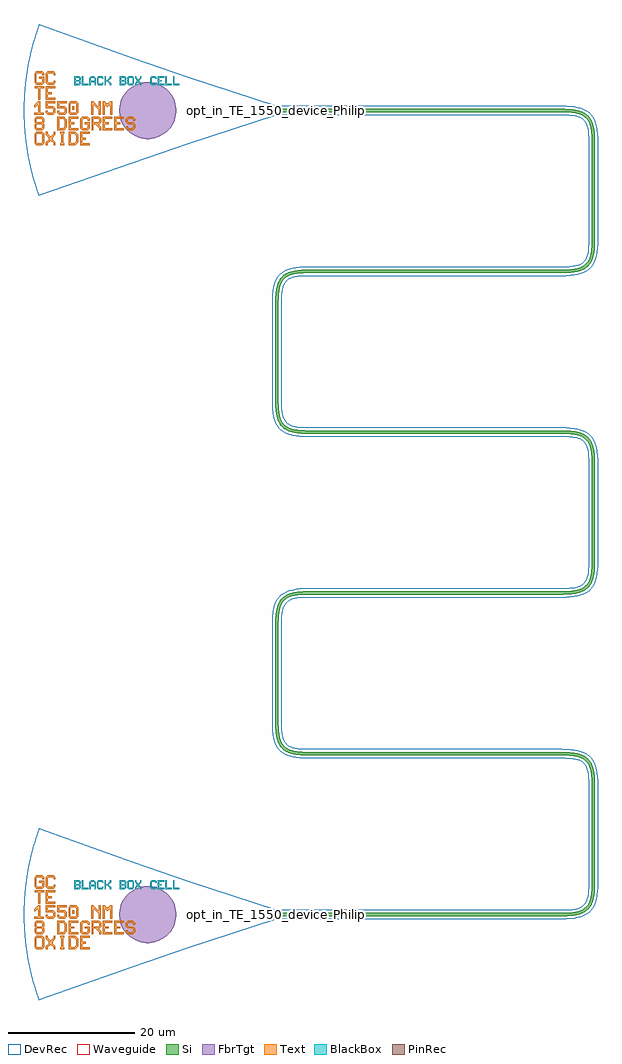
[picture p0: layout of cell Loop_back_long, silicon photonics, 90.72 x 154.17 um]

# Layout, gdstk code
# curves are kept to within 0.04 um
import gdstk
lib = gdstk.Library(unit=1e-6, precision=1e-09)
def R(c, l, rs):  # rectangles x0, y0, x1, y1
    for r in rs: c.add(gdstk.rectangle(r[:2], r[2:], *l))
def P(c, l, *ps):  # polygons
    for p in ps: c.add(gdstk.Polygon(p, *l))
Si = (1, 0)
PinRec = (1, 10)
Waveguide = (1, 99)
Text = (10, 0)
DevRec = (68, 0)
FbrTgt = (81, 0)
BlackBox = (998, 0)

text = lib.new_cell('TEXT')
P(text, BlackBox, [(0,0),(0,1.4),(0.8,1.4),(1,1.2),(0.2,1.2),(0.2,0.8),(0.7,0.8),(0.8,0.9),(0.8,1.1),(0.7,1.2),(1,1.2),(1,0.8),(0.9,0.7),(1,0.6),(0.2,0.6),(0.2,0.2),(0.7,0.2),(0.8,0.3),(0.8,0.5),(0.7,0.6),(1,0.6),(1,0.2),(0.8,0)],
  [(1.2,0),(1.2,1.4),(1.4,1.4),(1.4,0.2),(2.2,0.2),(2.2,0)],
  [(2.4,0),(2.4,1.1),(2.7,1.4),(3.1,1.4),(3.3,1.2),(2.8,1.2),(2.6,1),(2.6,0.7),(3.2,0.7),(3.2,1),(3,1.2),(3.3,1.2),(3.4,1.1),(3.4,0),(3.2,0),(3.2,0.5),(2.6,0.5),(2.6,0)],
  [(3.8,0),(3.6,0.2),(3.6,1.2),(3.8,1.4),(4.4,1.4),(4.6,1.2),(4.6,1),(4.4,1),(4.4,1.1),(4.3,1.2),(3.9,1.2),(3.8,1.1),(3.8,0.3),(3.9,0.2),(4.3,0.2),(4.4,0.3),(4.4,0.4),(4.6,0.4),(4.6,0.2),(4.4,0)],
  [(4.8,0),(4.8,1.4),(5,1.4),(5,0.8),(5.2,0.8),(5.6,1.2),(5.6,1.4),(5.8,1.4),(5.8,1.1),(5.4,0.7),(5.8,0.3),(5.8,0),(5.6,0),(5.6,0.2),(5.2,0.6),(5,0.6),(5,0)],
  [(7.2,0),(7.2,1.4),(8,1.4),(8.2,1.2),(7.4,1.2),(7.4,0.8),(7.9,0.8),(8,0.9),(8,1.1),(7.9,1.2),(8.2,1.2),(8.2,0.8),(8.1,0.7),(8.2,0.6),(7.4,0.6),(7.4,0.2),(7.9,0.2),(8,0.3),(8,0.5),(7.9,0.6),(8.2,0.6),(8.2,0.2),(8,0)],
  [(8.6,0),(8.4,0.2),(8.4,1.2),(8.6,1.4),(9.2,1.4),(9.4,1.2),(9.4,0.7),(9.2,0.7),(9.2,1.1),(9.1,1.2),(8.7,1.2),(8.6,1.1),(8.6,0.3),(8.7,0.2),(9.1,0.2),(9.2,0.3),(9.2,0.7),(9.4,0.7),(9.4,0.2),(9.2,0)],
  [(9.6,0),(9.6,0.3),(9.9,0.6),(9.9,0.8),(9.6,1.1),(9.6,1.4),(9.8,1.4),(9.8,1.2),(10.1,0.9),(10.4,1.2),(10.4,1.4),(10.6,1.4),(10.6,1.1),(10.3,0.8),(10.3,0.6),(10.6,0.3),(10.6,0),(10.4,0),(10.4,0.2),(10.1,0.5),(9.8,0.2),(9.8,0)],
  [(12.2,0),(12,0.2),(12,1.2),(12.2,1.4),(12.8,1.4),(13,1.2),(13,1),(12.8,1),(12.8,1.1),(12.7,1.2),(12.3,1.2),(12.2,1.1),(12.2,0.3),(12.3,0.2),(12.7,0.2),(12.8,0.3),(12.8,0.4),(13,0.4),(13,0.2),(12.8,0)],
  [(13.2,0),(13.2,1.4),(14.2,1.4),(14.2,1.2),(13.4,1.2),(13.4,0.8),(13.8,0.8),(13.8,0.6),(13.4,0.6),(13.4,0.2),(14.2,0.2),(14.2,0)],
  [(14.4,0),(14.4,1.4),(14.6,1.4),(14.6,0.2),(15.4,0.2),(15.4,0)],
  [(15.6,0),(15.6,1.4),(15.8,1.4),(15.8,0.2),(16.6,0.2),(16.6,0)])

gc_te_1550_8degoxide_bb = lib.new_cell('GC_TE_1550_8degOxide_BB')
R(gc_te_1550_8degoxide_bb, Waveguide, [(-0.4,-0.25,0,0.25)])
R(gc_te_1550_8degoxide_bb, Text, [(-32.313,0.092,-32.013,0.692)])
P(gc_te_1550_8degoxide_bb, Text, [(-37.67,1.71),(-37.67,3.51),(-38.27,3.51),(-38.27,3.81),(-36.77,3.81),(-36.77,3.51),(-37.37,3.51),(-37.37,1.71)],
  [(-37.97,-5.49),(-38.27,-5.19),(-38.27,-3.69),(-37.97,-3.39),(-37.07,-3.39),(-36.77,-3.69),(-36.77,-4.44),(-37.07,-4.44),(-37.07,-3.84),(-37.22,-3.69),(-37.82,-3.69),(-37.97,-3.84),(-37.97,-5.04),(-37.82,-5.19),(-37.22,-5.19),(-37.07,-5.04),(-37.07,-4.44),(-36.77,-4.44),(-36.77,-5.19),(-37.07,-5.49)],
  [(-31.07,-5.49),(-31.07,-3.39),(-29.57,-3.39),(-29.57,-3.69),(-30.77,-3.69),(-30.77,-4.29),(-30.17,-4.29),(-30.17,-4.59),(-30.77,-4.59),(-30.77,-5.19),(-29.57,-5.19),(-29.57,-5.49)],
  [(-32.87,-3.09),(-32.87,-0.99),(-31.37,-0.99),(-31.37,-1.29),(-32.57,-1.29),(-32.57,-1.89),(-31.97,-1.89),(-31.97,-2.19),(-32.57,-2.19),(-32.57,-2.79),(-31.37,-2.79),(-31.37,-3.09)],
  [(-27.47,-3.09),(-27.47,-0.99),(-25.97,-0.99),(-25.97,-1.29),(-27.17,-1.29),(-27.17,-1.89),(-26.57,-1.89),(-26.57,-2.19),(-27.17,-2.19),(-27.17,-2.79),(-25.97,-2.79),(-25.97,-3.09)],
  [(-25.67,-3.09),(-25.67,-0.99),(-24.17,-0.99),(-24.17,-1.29),(-25.37,-1.29),(-25.37,-1.89),(-24.77,-1.89),(-24.77,-2.19),(-25.37,-2.19),(-25.37,-2.79),(-24.17,-2.79),(-24.17,-3.09)],
  [(-36.47,1.71),(-36.47,3.81),(-34.97,3.81),(-34.97,3.51),(-36.17,3.51),(-36.17,2.91),(-35.57,2.91),(-35.57,2.61),(-36.17,2.61),(-36.17,2.01),(-34.97,2.01),(-34.97,1.71)],
  [(-29.313,-0.658),(-29.313,1.442),(-29.013,1.442),(-28.263,0.692),(-28.113,0.692),(-28.113,1.442),(-27.813,1.442),(-27.813,-0.658),(-28.113,-0.658),(-28.113,0.092),(-28.863,0.842),(-29.013,0.842),(-29.013,-0.658)],
  [(-34.22,-5.49),(-34.22,-5.19),(-34.07,-5.19),(-34.07,-3.69),(-34.22,-3.69),(-34.22,-3.39),(-33.62,-3.39),(-33.62,-3.69),(-33.77,-3.69),(-33.77,-5.19),(-33.62,-5.19),(-33.62,-5.49)],
  [(-36.17,4.11),(-36.47,4.41),(-36.47,5.91),(-36.17,6.21),(-35.27,6.21),(-34.97,5.91),(-34.97,5.61),(-35.27,5.61),(-35.27,5.76),(-35.42,5.91),(-36.02,5.91),(-36.17,5.76),(-36.17,4.56),(-36.02,4.41),(-35.42,4.41),(-35.27,4.56),(-35.27,4.71),(-34.97,4.71),(-34.97,4.41),(-35.27,4.11)],
  [(-27.513,-0.658),(-27.513,1.442),(-27.213,1.442),(-26.913,1.142),(-26.613,1.142),(-26.313,1.442),(-26.013,1.442),(-26.013,-0.658),(-26.313,-0.658),(-26.313,0.842),(-26.463,0.842),(-26.763,0.542),(-27.063,0.842),(-27.213,0.842),(-27.213,-0.658)],
  [(-32.613,-0.658),(-32.913,-0.358),(-32.913,1.142),(-32.613,1.442),(-31.713,1.442),(-31.413,1.142),(-32.463,1.142),(-32.613,0.992),(-32.613,-0.208),(-32.463,-0.358),(-31.863,-0.358),(-31.713,-0.208),(-31.713,0.992),(-31.863,1.142),(-31.413,1.142),(-31.413,-0.358),(-31.713,-0.658)],
  [(-32.87,-5.49),(-32.87,-3.39),(-31.82,-3.39),(-31.52,-3.69),(-32.57,-3.69),(-32.57,-5.19),(-31.97,-5.19),(-31.67,-4.89),(-31.67,-3.99),(-31.97,-3.69),(-31.52,-3.69),(-31.37,-3.84),(-31.37,-5.04),(-31.82,-5.49)],
  [(-34.67,-3.09),(-34.67,-0.99),(-33.62,-0.99),(-33.32,-1.29),(-34.37,-1.29),(-34.37,-2.79),(-33.77,-2.79),(-33.47,-2.49),(-33.47,-1.59),(-33.77,-1.29),(-33.32,-1.29),(-33.17,-1.44),(-33.17,-2.64),(-33.62,-3.09)],
  [(-23.57,-3.09),(-23.87,-2.79),(-23.87,-2.49),(-23.57,-2.49),(-23.57,-2.64),(-23.42,-2.79),(-22.82,-2.79),(-22.67,-2.64),(-22.67,-2.34),(-22.82,-2.19),(-23.57,-2.19),(-23.87,-1.89),(-23.87,-1.29),(-23.57,-0.99),(-22.67,-0.99),(-22.37,-1.29),(-22.37,-1.59),(-22.67,-1.59),(-22.67,-1.44),(-22.82,-1.29),(-23.42,-1.29),(-23.57,-1.44),(-23.57,-1.74),(-23.42,-1.89),(-22.67,-1.89),(-22.37,-2.19),(-22.37,-2.79),(-22.67,-3.09)],
  [(-36.213,-0.658),(-36.513,-0.358),(-36.513,-0.058),(-36.213,-0.058),(-36.213,-0.208),(-36.063,-0.358),(-35.463,-0.358),(-35.313,-0.208),(-35.313,0.242),(-35.463,0.392),(-36.513,0.392),(-36.513,1.442),(-35.013,1.442),(-35.013,1.142),(-36.213,1.142),(-36.213,0.692),(-35.313,0.692),(-35.013,0.392),(-35.013,-0.358),(-35.313,-0.658)],
  [(-34.413,-0.658),(-34.713,-0.358),(-34.713,-0.058),(-34.413,-0.058),(-34.413,-0.208),(-34.263,-0.358),(-33.663,-0.358),(-33.513,-0.208),(-33.513,0.242),(-33.663,0.392),(-34.713,0.392),(-34.713,1.442),(-33.213,1.442),(-33.213,1.142),(-34.413,1.142),(-34.413,0.692),(-33.513,0.692),(-33.213,0.392),(-33.213,-0.358),(-33.513,-0.658)],
  [(-37.97,-3.09),(-38.27,-2.79),(-38.27,-2.19),(-38.12,-2.04),(-38.27,-1.89),(-38.27,-1.29),(-37.97,-0.99),(-37.07,-0.99),(-36.77,-1.29),(-37.82,-1.29),(-37.97,-1.44),(-37.97,-1.74),(-37.82,-1.89),(-37.22,-1.89),(-37.07,-1.74),(-37.07,-1.44),(-37.22,-1.29),(-36.77,-1.29),(-36.77,-1.89),(-36.92,-2.04),(-36.77,-2.19),(-37.82,-2.19),(-37.97,-2.34),(-37.97,-2.64),(-37.82,-2.79),(-37.22,-2.79),(-37.07,-2.64),(-37.07,-2.34),(-37.22,-2.19),(-36.77,-2.19),(-36.77,-2.79),(-37.07,-3.09)],
  [(-38.313,-0.658),(-38.313,-0.358),(-37.713,-0.358),(-37.713,0.842),(-37.863,0.842),(-38.163,0.542),(-38.313,0.542),(-38.313,0.842),(-37.713,1.442),(-37.413,1.442),(-37.413,-0.358),(-36.813,-0.358),(-36.813,-0.658)],
  [(-36.47,-5.49),(-36.47,-5.04),(-36.02,-4.59),(-36.02,-4.29),(-36.47,-3.84),(-36.47,-3.39),(-36.17,-3.39),(-36.17,-3.69),(-35.72,-4.14),(-35.27,-3.69),(-35.27,-3.39),(-34.97,-3.39),(-34.97,-3.84),(-35.42,-4.29),(-35.42,-4.59),(-34.97,-5.04),(-34.97,-5.49),(-35.27,-5.49),(-35.27,-5.19),(-35.72,-4.74),(-36.17,-5.19),(-36.17,-5.49)],
  [(-30.77,-3.09),(-31.07,-2.79),(-31.07,-1.29),(-30.77,-0.99),(-29.87,-0.99),(-29.57,-1.29),(-29.57,-1.59),(-29.87,-1.59),(-29.87,-1.44),(-30.02,-1.29),(-30.62,-1.29),(-30.77,-1.44),(-30.77,-2.64),(-30.62,-2.79),(-30.02,-2.79),(-29.87,-2.64),(-29.87,-2.19),(-30.32,-2.19),(-30.32,-1.89),(-29.57,-1.89),(-29.57,-2.79),(-29.87,-3.09)],
  [(-37.97,4.11),(-38.27,4.41),(-38.27,5.91),(-37.97,6.21),(-37.07,6.21),(-36.77,5.91),(-36.77,5.61),(-37.07,5.61),(-37.07,5.76),(-37.22,5.91),(-37.82,5.91),(-37.97,5.76),(-37.97,4.56),(-37.82,4.41),(-37.22,4.41),(-37.07,4.56),(-37.07,5.01),(-37.52,5.01),(-37.52,5.31),(-36.77,5.31),(-36.77,4.41),(-37.07,4.11)],
  [(-29.27,-3.09),(-29.27,-0.99),(-28.07,-0.99),(-27.77,-1.29),(-28.97,-1.29),(-28.97,-1.89),(-28.22,-1.89),(-28.07,-1.74),(-28.07,-1.44),(-28.22,-1.29),(-27.77,-1.29),(-27.77,-1.89),(-28.07,-2.19),(-28.07,-2.34),(-27.77,-2.64),(-27.77,-3.09),(-28.07,-3.09),(-28.07,-2.79),(-28.67,-2.19),(-28.97,-2.19),(-28.97,-3.09)])
P(gc_te_1550_8degoxide_bb, DevRec, [(-37.607,-13.5),(-38.627,-10.245),(-39.378,-6.832),(-39.647,-5.058),(-39.835,-3.274),(-39.969,0.224),(-39.812,3.541),(-39.331,7.097),(-38.557,10.505),(-37.546,13.669),(-22.8,8.353),(-14.109,5.36),(0,0.75),(0,-0.75),(-14.109,-5.36)])
P(gc_te_1550_8degoxide_bb, FbrTgt, [(-20.621,-4.5),(-21.495,-4.37),(-22.326,-4.073),(-23.084,-3.619),(-23.738,-3.026),(-24.264,-2.316),(-24.642,-1.518),(-24.857,-0.661),(-24.9,0.221),(-24.77,1.095),(-24.473,1.926),(-24.019,2.684),(-23.426,3.338),(-22.716,3.864),(-21.918,4.242),(-21.061,4.457),(-20.179,4.5),(-19.305,4.37),(-18.474,4.073),(-17.716,3.619),(-17.062,3.026),(-16.536,2.316),(-16.158,1.518),(-15.943,0.661),(-15.9,-0.221),(-16.03,-1.095),(-16.327,-1.926),(-16.781,-2.684),(-17.374,-3.338),(-18.084,-3.864),(-18.882,-4.242),(-19.739,-4.457)])
gc_te_1550_8degoxide_bb.add(gdstk.FlexPath([(-0.01,0),(0.01,0)], 0.5, ends="flush", simple_path=True, layer=1, datatype=10))  # PinRec
gc_te_1550_8degoxide_bb.add(gdstk.Reference(text, (-32,4)))
gc_te_1550_8degoxide_bb.add(gdstk.Label('opt1', (0,0), layer=1, texttype=10))
gc_te_1550_8degoxide_bb.add(gdstk.Label('Lumerical_INTERCONNECT_library=Design kits/ebeam', (-29,-7), layer=68, texttype=0))
gc_te_1550_8degoxide_bb.add(gdstk.Label('Component=GC_TE_1550_8degOxide_BB', (-28,-5), layer=68, texttype=0))

waveguide_1 = lib.new_cell('Waveguide$1')
P(waveguide_1, Si, [(0,-0.25),(0,0.25),(45.829,0.267),(47.341,0.445),(48.303,0.79),(48.667,1.034),(48.965,1.332),(49.405,2.135),(49.637,3.11),(49.745,4.572),(49.733,21.229),(49.585,22.596),(49.314,23.493),(48.897,24.146),(48.304,24.609),(47.742,24.846),(47.045,25.012),(45.217,25.148),(5,25.15),(3.387,25.223),(2.397,25.394),(1.703,25.63),(1.12,25.967),(0.568,26.519),(0.231,27.102),(-0.042,27.95),(-0.194,28.968),(-0.248,30.177),(-0.25,45.8),(-0.195,47.231),(-0.006,48.403),(0.352,49.343),(0.823,49.977),(1.577,50.51),(2.106,50.722),(2.869,50.904),(4.777,51.048),(45,51.05),(46.559,51.121),(47.341,51.245),(48.093,51.486),(48.667,51.834),(49.093,52.306),(49.405,52.935),(49.584,53.603),(49.711,54.593),(49.75,55.8),(49.712,72.406),(49.555,73.541),(49.263,74.4),(48.823,75.023),(48.201,75.462),(47.742,75.646),(47.045,75.812),(45.217,75.948),(5,75.95),(3.387,76.023),(2.397,76.194),(1.703,76.43),(1.12,76.767),(0.568,77.319),(0.231,77.902),(-0.042,78.75),(-0.194,79.768),(-0.248,80.977),(-0.25,96.6),(-0.195,98.031),(-0.006,99.203),(0.352,100.143),(0.917,100.866),(1.702,101.369),(2.396,101.605),(3.036,101.731),(4.777,101.848),(45.631,101.859),(46.728,101.94),(47.612,102.114),(48.303,102.39),(48.746,102.703),(49.209,103.296),(49.485,103.987),(49.659,104.871),(49.745,106.172),(49.741,122.631),(49.555,124.341),(49.361,124.981),(49.094,125.493),(48.583,126.03),(47.865,126.405),(46.89,126.637),(45.632,126.74),(0,126.75),(0,127.25),(45,127.25),(46.791,127.155),(47.604,127.005),(48.168,126.824),(48.661,126.58),(49.083,126.266),(49.433,125.88),(49.711,125.422),(50.075,124.292),(50.233,122.851),(50.222,105.55),(50.104,104.469),(49.922,103.706),(49.58,102.939),(49.177,102.423),(48.66,102.019),(47.893,101.677),(46.963,101.468),(45.647,101.359),(4.783,101.348),(3.11,101.237),(2.52,101.121),(1.906,100.913),(1.253,100.496),(0.79,99.903),(0.478,99.079),(0.288,97.806),(0.255,80.772),(0.322,79.64),(0.479,78.72),(0.687,78.106),(1.035,77.532),(1.507,77.106),(2.019,76.839),(2.659,76.645),(3.615,76.503),(5,76.45),(45.438,76.445),(46.614,76.376),(47.45,76.242),(48.168,76.024),(48.661,75.78),(49.352,75.183),(49.825,74.367),(50.105,73.33),(50.233,72.051),(50.24,55.152),(50.074,53.507),(49.71,52.377),(49.177,51.623),(48.771,51.29),(48.297,51.03),(47.292,50.725),(45.851,50.567),(4.783,50.548),(3.11,50.437),(2.52,50.321),(1.906,50.113),(1.253,49.696),(0.79,49.103),(0.478,48.279),(0.288,47.006),(0.252,30.183),(0.304,29.014),(0.446,28.058),(0.687,27.306),(0.97,26.817),(1.333,26.434),(1.907,26.086),(2.659,25.845),(3.441,25.721),(5,25.65),(45.438,25.645),(46.432,25.594),(47.293,25.474),(48.033,25.275),(48.544,25.047),(49.267,24.482),(49.77,23.697),(50.075,22.692),(50.223,21.449),(50.245,4.562),(50.131,3.036),(49.824,1.832),(49.58,1.339),(49.266,0.917),(48.88,0.567),(48.422,0.289),(47.292,-0.075),(45.851,-0.233)])
P(waveguide_1, Waveguide, [(0,-0.25),(0,0.25),(45.829,0.267),(47.341,0.445),(48.303,0.79),(48.667,1.034),(48.965,1.332),(49.405,2.135),(49.637,3.11),(49.745,4.572),(49.733,21.229),(49.585,22.596),(49.314,23.493),(48.897,24.146),(48.304,24.609),(47.742,24.846),(47.045,25.012),(45.217,25.148),(5,25.15),(3.387,25.223),(2.397,25.394),(1.703,25.63),(1.12,25.967),(0.568,26.519),(0.231,27.102),(-0.042,27.95),(-0.194,28.968),(-0.248,30.177),(-0.25,45.8),(-0.195,47.231),(-0.006,48.403),(0.352,49.343),(0.823,49.977),(1.577,50.51),(2.106,50.722),(2.869,50.904),(4.777,51.048),(45,51.05),(46.559,51.121),(47.341,51.245),(48.093,51.486),(48.667,51.834),(49.093,52.306),(49.405,52.935),(49.584,53.603),(49.711,54.593),(49.75,55.8),(49.712,72.406),(49.555,73.541),(49.263,74.4),(48.823,75.023),(48.201,75.462),(47.742,75.646),(47.045,75.812),(45.217,75.948),(5,75.95),(3.387,76.023),(2.397,76.194),(1.703,76.43),(1.12,76.767),(0.568,77.319),(0.231,77.902),(-0.042,78.75),(-0.194,79.768),(-0.248,80.977),(-0.25,96.6),(-0.195,98.031),(-0.006,99.203),(0.352,100.143),(0.917,100.866),(1.702,101.369),(2.396,101.605),(3.036,101.731),(4.777,101.848),(45.631,101.859),(46.728,101.94),(47.612,102.114),(48.303,102.39),(48.746,102.703),(49.209,103.296),(49.485,103.987),(49.659,104.871),(49.745,106.172),(49.741,122.631),(49.555,124.341),(49.361,124.981),(49.094,125.493),(48.583,126.03),(47.865,126.405),(46.89,126.637),(45.632,126.74),(0,126.75),(0,127.25),(45,127.25),(46.791,127.155),(47.604,127.005),(48.168,126.824),(48.661,126.58),(49.083,126.266),(49.433,125.88),(49.711,125.422),(50.075,124.292),(50.233,122.851),(50.222,105.55),(50.104,104.469),(49.922,103.706),(49.58,102.939),(49.177,102.423),(48.66,102.019),(47.893,101.677),(46.963,101.468),(45.647,101.359),(4.783,101.348),(3.11,101.237),(2.52,101.121),(1.906,100.913),(1.253,100.496),(0.79,99.903),(0.478,99.079),(0.288,97.806),(0.255,80.772),(0.322,79.64),(0.479,78.72),(0.687,78.106),(1.035,77.532),(1.507,77.106),(2.019,76.839),(2.659,76.645),(3.615,76.503),(5,76.45),(45.438,76.445),(46.614,76.376),(47.45,76.242),(48.168,76.024),(48.661,75.78),(49.352,75.183),(49.825,74.367),(50.105,73.33),(50.233,72.051),(50.24,55.152),(50.074,53.507),(49.71,52.377),(49.177,51.623),(48.771,51.29),(48.297,51.03),(47.292,50.725),(45.851,50.567),(4.783,50.548),(3.11,50.437),(2.52,50.321),(1.906,50.113),(1.253,49.696),(0.79,49.103),(0.478,48.279),(0.288,47.006),(0.252,30.183),(0.304,29.014),(0.446,28.058),(0.687,27.306),(0.97,26.817),(1.333,26.434),(1.907,26.086),(2.659,25.845),(3.441,25.721),(5,25.65),(45.438,25.645),(46.432,25.594),(47.293,25.474),(48.033,25.275),(48.544,25.047),(49.267,24.482),(49.77,23.697),(50.075,22.692),(50.223,21.449),(50.245,4.562),(50.131,3.036),(49.824,1.832),(49.58,1.339),(49.266,0.917),(48.88,0.567),(48.422,0.289),(47.292,-0.075),(45.851,-0.233)])
P(waveguide_1, DevRec, [(0,-0.75),(0,0.75),(45,0.75),(46.744,0.847),(47.895,1.145),(48.375,1.442),(48.714,1.841),(48.974,2.424),(49.152,3.255),(49.25,5.001),(49.208,21.63),(49.075,22.593),(48.855,23.295),(48.558,23.775),(48.376,23.957),(47.896,24.254),(46.745,24.552),(45,24.65),(5,24.65),(3.048,24.761),(1.973,24.995),(1.05,25.411),(0.651,25.702),(0.012,26.449),(-0.222,26.89),(-0.54,27.89),(-0.703,29.049),(-0.75,30.399),(-0.75,45.8),(-0.639,47.752),(-0.405,48.827),(0.011,49.75),(0.65,50.497),(1.49,51.022),(1.972,51.204),(3.047,51.438),(5,51.55),(45.649,51.56),(46.744,51.647),(47.895,51.945),(48.375,52.242),(48.557,52.424),(48.854,52.904),(49.152,54.055),(49.239,55.15),(49.24,71.849),(49.153,72.944),(48.975,73.775),(48.715,74.358),(48.376,74.757),(47.896,75.054),(47.194,75.274),(45.65,75.439),(5,75.45),(3.048,75.561),(1.973,75.795),(1.491,75.977),(0.651,76.502),(0.012,77.249),(-0.404,78.172),(-0.638,79.247),(-0.75,81.199),(-0.75,96.6),(-0.704,97.95),(-0.541,99.109),(-0.223,100.109),(0.011,100.55),(0.302,100.949),(1.049,101.588),(1.972,102.004),(3.047,102.238),(5,102.35),(45,102.35),(46.744,102.447),(47.575,102.625),(48.158,102.885),(48.375,103.042),(48.714,103.441),(48.974,104.024),(49.152,104.855),(49.239,105.95),(49.24,122.649),(49.153,123.744),(48.855,124.895),(48.558,125.375),(48.376,125.557),(47.896,125.854),(46.745,126.152),(45.65,126.239),(0,126.25),(0,127.75),(45,127.75),(46.953,127.638),(48.028,127.404),(48.951,126.988),(49.35,126.697),(49.989,125.95),(50.223,125.509),(50.541,124.509),(50.74,122.701),(50.75,106.599),(50.703,105.249),(50.54,104.09),(50.222,103.09),(49.697,102.25),(49.349,101.902),(48.95,101.611),(48.027,101.195),(46.952,100.961),(45.701,100.86),(5,100.85),(3.255,100.752),(2.104,100.454),(1.624,100.157),(1.442,99.975),(1.145,99.495),(0.925,98.793),(0.792,97.83),(0.761,80.55),(0.926,79.006),(1.146,78.304),(1.443,77.824),(1.842,77.485),(2.425,77.225),(3.77,76.992),(5,76.95),(45.702,76.939),(47.51,76.74),(48.51,76.422),(48.951,76.188),(49.698,75.549),(50.223,74.709),(50.541,73.709),(50.74,71.901),(50.739,55.098),(50.54,53.29),(50.222,52.29),(49.697,51.45),(49.349,51.102),(48.509,50.577),(47.509,50.259),(45.701,50.06),(5,50.05),(3.255,49.952),(2.104,49.654),(1.624,49.357),(1.442,49.175),(1.145,48.695),(0.925,47.993),(0.792,47.03),(0.761,29.75),(0.926,28.206),(1.146,27.504),(1.443,27.024),(1.842,26.685),(2.425,26.425),(3.77,26.192),(5,26.15),(45.702,26.139),(47.51,25.94),(48.51,25.622),(48.951,25.388),(49.698,24.749),(50.223,23.909),(50.541,22.909),(50.704,21.75),(50.75,20.4),(50.75,4.999),(50.638,3.047),(50.404,1.972),(49.988,1.049),(49.697,0.65),(48.95,0.011),(48.509,-0.223),(47.509,-0.541),(45.701,-0.74)])
waveguide_1.add(gdstk.FlexPath([(0.01,0),(-0.01,0)], 0.5, ends="flush", simple_path=True, layer=1, datatype=10))  # PinRec
waveguide_1.add(gdstk.FlexPath([(0.01,127),(-0.01,127)], 0.5, ends="flush", simple_path=True, layer=1, datatype=10))  # PinRec
waveguide_1.add(gdstk.Label('opt1', (0,0), layer=1, texttype=10))
waveguide_1.add(gdstk.Label('opt2', (0,127), layer=1, texttype=10))
waveguide_1.add(gdstk.Label('Lumerical_INTERCONNECT_library=Design kits/EBeam', (0,-0.1), layer=68, texttype=0))
waveguide_1.add(gdstk.Label('Component=ebeam_wg_integral_1550', (0,0.1), layer=68, texttype=0))
waveguide_1.add(gdstk.Label('cellName=Waveguide', (0,0.2), layer=68, texttype=0))
waveguide_1.add(gdstk.Label('Length=411.483 (microns)', (0,-0.6), layer=68, texttype=0))
waveguide_1.add(gdstk.Label('waveguide_type=Strip TE 1550 nm, w=500 nm', (0,-0.2), layer=68, texttype=0))

loop_back_long = lib.new_cell('Loop_back_long')
loop_back_long.add(gdstk.Reference(gc_te_1550_8degoxide_bb, (0,0)))
loop_back_long.add(gdstk.Reference(gc_te_1550_8degoxide_bb, (0,127)))
loop_back_long.add(gdstk.Reference(waveguide_1, (0,0)))
loop_back_long.add(gdstk.Label('opt_in_TE_1550_device_PhilippeArsenault_Loop_back_Long_bot', (0,0), layer=10, texttype=0))
loop_back_long.add(gdstk.Label('opt_in_TE_1550_device_PhilippeArsenault_Loop_back_Long_top', (0,127), layer=10, texttype=0))

lib.write_gds('Loop_back_long.gds')
